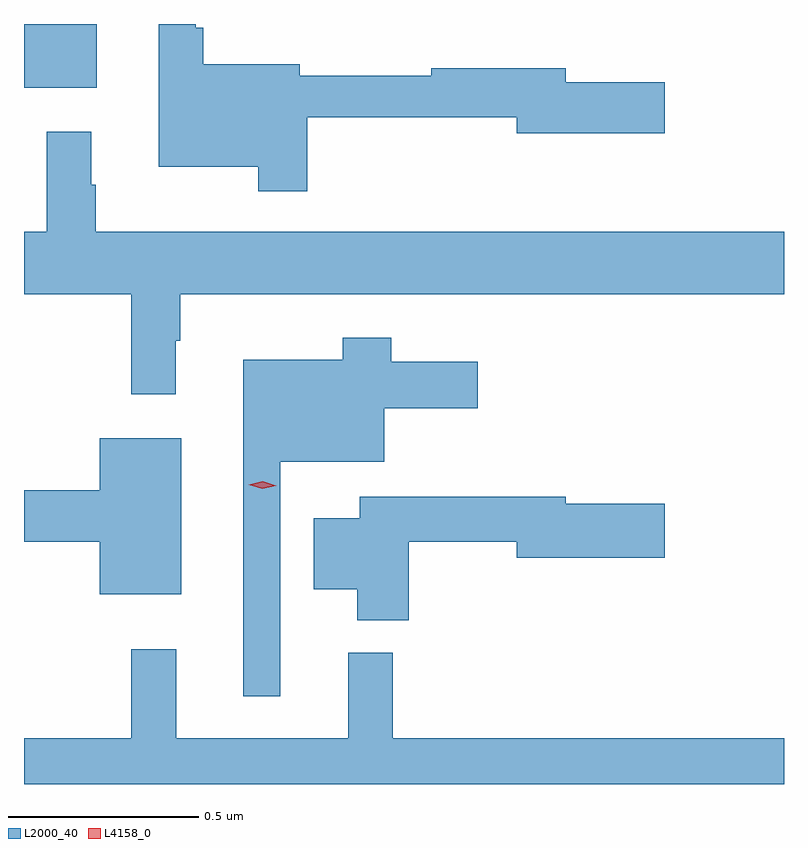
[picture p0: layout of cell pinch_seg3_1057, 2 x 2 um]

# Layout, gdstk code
import gdstk
lib = gdstk.Library(unit=1e-6, precision=1e-09)
def R(c, l, rs):  # rectangles x0, y0, x1, y1
    for r in rs: c.add(gdstk.rectangle(r[:2], r[2:], *l))
def P(c, l, *ps):  # polygons
    for p in ps: c.add(gdstk.Polygon(p, *l))
L2000_40 = (2000, 40)
L4158_0 = (4158, 0)

pinch_seg3_1057 = lib.new_cell('pinch_seg3_1057')
R(pinch_seg3_1057, L2000_40, [(513.031,682.811,513.223,682.979)])
P(pinch_seg3_1057, L2000_40, [(513.776,682.734),(514.328,682.734),(514.328,682.691),(514.717,682.691),(514.717,682.826),(514.456,682.826),(514.456,682.862),(514.103,682.862),(514.103,682.843),(513.757,682.843),(513.757,682.873),(513.503,682.873),(513.503,682.969),(513.483,682.969),(513.483,682.979),(513.386,682.979),(513.386,682.604),(513.648,682.604),(513.648,682.539),(513.776,682.539)],
  [(513.43,682.145),(513.442,682.145),(513.442,682.268),(515.031,682.268),(515.031,682.432),(513.22,682.432),(513.22,682.556),(513.208,682.556),(513.208,682.696),(513.091,682.696),(513.091,682.432),(513.031,682.432),(513.031,682.268),(513.313,682.268),(513.313,682.005),(513.43,682.005)],
  [(513.705,681.827),(513.979,681.827),(513.979,681.968),(514.225,681.968),(514.225,682.09),(513.998,682.09),(513.998,682.153),(513.87,682.153),(513.87,682.096),(513.608,682.096),(513.608,681.21),(513.705,681.21)],
  [(513.445,681.889),(513.23,681.889),(513.23,681.752),(513.031,681.752),(513.031,681.616),(513.23,681.616),(513.23,681.479),(513.445,681.479)],
  [(514.043,681.616),(514.328,681.616),(514.328,681.574),(514.717,681.574),(514.717,681.716),(514.456,681.716),(514.456,681.735),(513.914,681.735),(513.914,681.679),(513.794,681.679),(513.794,681.491),(513.908,681.491),(513.908,681.41),(514.043,681.41)],
  [(515.031,681.1),(514.001,681.1),(514.001,681.325),(513.884,681.325),(513.884,681.1),(513.431,681.1),(513.431,681.334),(513.313,681.334),(513.313,681.1),(513.031,681.1),(513.031,680.979),(515.031,680.979)])
P(pinch_seg3_1057, L4158_0, [(513.658,681.756),(513.623,681.767),(513.623,681.767),(513.623,681.767),(513.659,681.776),(513.695,681.764),(513.695,681.764),(513.695,681.764)])

lib.write_gds('pinch_seg3_1057.gds')
